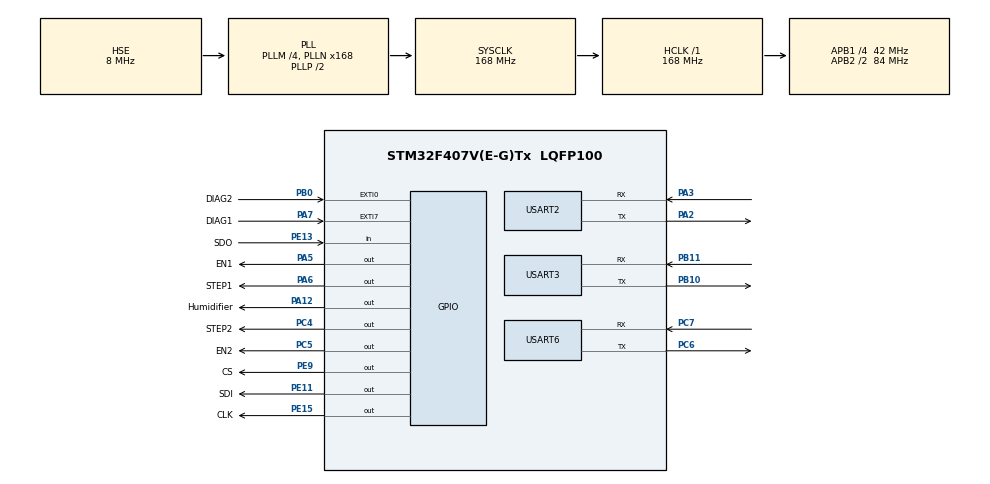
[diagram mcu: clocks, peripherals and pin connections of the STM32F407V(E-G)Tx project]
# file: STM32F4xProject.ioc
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Mcu.Family=STM32F4
Mcu.Name=STM32F407V(E-G)Tx
Mcu.Package=LQFP100
NVIC.EXTI0_IRQn=true\:0\:0\:false\:false\:true\:true\:true\:true
NVIC.EXTI9_5_IRQn=true\:0\:0\:false\:false\:true\:true\:true\:true
NVIC.PriorityGroup=NVIC_PRIORITYGROUP_4
NVIC.TIM6_DAC_IRQn=true\:0\:0\:false\:false\:true\:true\:true\:true
NVIC.TIM7_IRQn=true\:0\:0\:false\:false\:true\:true\:true\:true
NVIC.USART2_IRQn=true\:0\:0\:false\:false\:true\:true\:true\:true
NVIC.USART3_IRQn=true\:0\:0\:false\:false\:true\:true\:true\:true
PA12.GPIO_Label=Humidifier
PA12.Signal=GPIO_Output
PA13.Mode=Serial_Wire
PA13.Signal=SYS_JTMS-SWDIO
PA14.Mode=Serial_Wire
PA14.Signal=SYS_JTCK-SWCLK
PA2.Mode=Asynchronous
PA2.Signal=USART2_TX
PA3.Mode=Asynchronous
PA3.Signal=USART2_RX
PA5.GPIO_Label=EN1
PA5.GPIO_PuPd=GPIO_PULLUP
PA5.GPIO_Speed=GPIO_SPEED_FREQ_HIGH
PA5.Signal=GPIO_Output
PA6.GPIO_Label=STEP1
PA6.GPIO_PuPd=GPIO_PULLUP
PA6.GPIO_Speed=GPIO_SPEED_FREQ_VERY_HIGH
PA6.PinState=GPIO_PIN_RESET
PA6.Signal=GPIO_Output
PA7.GPIO_Label=DIAG1
PA7.GPIO_ModeDefaultEXTI=GPIO_MODE_IT_RISING
PA7.GPIO_PuPd=GPIO_PULLUP
PA7.Signal=GPXTI7
PB0.GPIO_Label=DIAG2
PB0.GPIO_PuPd=GPIO_PULLUP
PB0.Signal=GPXTI0
PB10.Mode=Asynchronous
PB10.Signal=USART3_TX
PB11.Mode=Asynchronous
PB11.Signal=USART3_RX
PC14-OSC32_IN.Mode=LSE-External-Oscillator
PC14-OSC32_IN.Signal=RCC_OSC32_IN
PC15-OSC32_OUT.Mode=LSE-External-Oscillator
PC15-OSC32_OUT.Signal=RCC_OSC32_OUT
PC4.GPIO_Label=STEP2
PC4.GPIO_ModeDefaultOutputPP=GPIO_MODE_OUTPUT_PP
PC4.GPIO_Speed=GPIO_SPEED_FREQ_VERY_HIGH
PC4.Signal=GPIO_Output
PC5.GPIO_Label=EN2
PC5.GPIO_PuPd=GPIO_PULLUP
PC5.GPIO_Speed=GPIO_SPEED_FREQ_HIGH
PC5.Signal=GPIO_Output
PC6.Mode=Asynchronous
PC6.Signal=USART6_TX
PC7.Mode=Asynchronous
PC7.Signal=USART6_RX
PE11.GPIO_Label=SDI
PE11.GPIO_Speed=GPIO_SPEED_FREQ_HIGH
PE11.Signal=GPIO_Output
PE13.GPIO_Label=SDO
PE13.Signal=GPIO_Input
PE15.GPIO_Label=CLK
PE15.GPIO_Speed=GPIO_SPEED_FREQ_HIGH
PE15.Signal=GPIO_Output
PE9.GPIO_Label=CS
PE9.GPIO_Speed=GPIO_SPEED_FREQ_HIGH
PE9.Signal=GPIO_Output
PH0-OSC_IN.Mode=HSE-External-Oscillator
PH0-OSC_IN.Signal=RCC_OSC_IN
PH1-OSC_OUT.Mode=HSE-External-Oscillator
PH1-OSC_OUT.Signal=RCC_OSC_OUT
ProjectManager.HeapSize=0x200
ProjectManager.StackSize=0x400
ProjectManager.TargetToolchain=STM32CubeIDE
RCC.48MHZClocksFreq_Value=84000000
RCC.AHBFreq_Value=168000000
RCC.APB1CLKDivider=RCC_HCLK_DIV4
RCC.APB1Freq_Value=42000000
RCC.APB1TimFreq_Value=84000000
RCC.APB2CLKDivider=RCC_HCLK_DIV2
RCC.APB2Freq_Value=84000000
RCC.APB2TimFreq_Value=168000000
RCC.CortexFreq_Value=168000000
RCC.HCLKFreq_Value=168000000
RCC.HSE_VALUE=8000000
RCC.HSI_VALUE=16000000
RCC.PLLM=4
RCC.PLLN=168
RCC.PLLSourceVirtual=RCC_PLLSOURCE_HSE
RCC.SYSCLKFreq_VALUE=168000000
RCC.SYSCLKSource=RCC_SYSCLKSOURCE_PLLCLK
RCC.VCOOutputFreq_Value=336000000
TIM6.Period=10000-1
TIM6.Prescaler=8399
TIM7.Period=10000-1
TIM7.Prescaler=8399
USART2.VirtualMode=VM_ASYNC
USART3.VirtualMode=VM_ASYNC
USART6.VirtualMode=VM_ASYNC
VP_TIM6_VS_ClockSourceINT.Mode=Enable_Timer
VP_TIM7_VS_ClockSourceINT.Mode=Enable_Timer
board=custom

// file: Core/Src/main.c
/* USER CODE BEGIN Header */
/**
  ******************************************************************************
  * @file           : main.c
  * @brief          : Main program body
  ******************************************************************************
  * @attention
  *
  * Copyright (c) 2022 STMicroelectronics.
  * All rights reserved.
  *
  * This software is licensed under terms that can be found in the LICENSE file
  * in the root directory of this software component.
  * If no LICENSE file comes with this software, it is provided AS-IS.
  *
  ******************************************************************************
  */
/* USER CODE END Header */
#include "main.h"
#include "tim.h"
#include "usart.h"
#include "gpio.h"

/* USER CODE BEGIN Includes */
#include "tools.h"
#include "tmc220xUart.h"
#include "humidifier.h"
#include "max31865.h"
#include "tim.h"
#include "tmc220xUart.h"
#include "max31865.h"
#include "dht.h"
#include "tmc220x.h"
/* USER CODE END Includes */

void SystemClock_Config(void);

int main(void)
{

  /* MCU Configuration--------------------------------------------------------*/

  /* Reset of all peripherals, Initializes the Flash interface and the Systick. */
  HAL_Init();

  /* Configure the system clock */
  SystemClock_Config();

  /* Initialize all configured peripherals */
  MX_GPIO_Init();
  MX_USART6_UART_Init();
  MX_TIM6_Init();
  MX_TIM7_Init();
  MX_USART2_UART_Init();
  MX_USART3_UART_Init();
  /* USER CODE BEGIN 2 */
	delay_init(168);
	/*=========================驱动初始化========================= */
	// 初始化步进电机驱动
	RetargetInit(&huart6);
	initTMC2209(
		0, &huart2, 64, 253, 2,
		STEP1_GPIO_Port, STEP1_Pin,
		EN1_GPIO_Port, EN1_Pin,
		DIAG2_GPIO_Port, DIAG2_Pin, 90, 0
	);
//
//	initTMC2209(1, &huart3, 64, 203, 2, STEP2_GPIO_Port,
//							STEP2_Pin, EN2_GPIO_Port, EN2_Pin, DIAG1_GPIO_Port,
//							DIAG1_Pin, 80, 0);

	// 初始化加湿器
//	initHumidifier(Humidifier_GPIO_Port, Humidifier_Pin);
	// 初始化Max31865温度传感器
//	initMax31865(0, CS_GPIO_Port, CS_Pin, CLK_GPIO_Port, CLK_Pin,
//	             SDI_GPIO_Port, SDI_Pin, SDO_GPIO_Port, SDO_Pin, 4);
//	static DHT_sensor dhtSensor = {GPIOC, GPIO_PIN_1, DHT22, GPIO_PULLUP};

  /* USER CODE END 2 */

  /* Infinite loop */
  /* USER CODE BEGIN WHILE */

	stallGuard(0,0);
	moveToUART(0, 1, 37);
	while (1) {
		moveToUART(0, 1, 25);
		HAL_Delay(2000);
//		static uint8_t dir=0;
//		moveToUART(0, dir, 253);
//		if(get_stop_flag(0))
//		{
//			print("0:stop");
//			set_stop_flag(0,0);
//		}
//		dir=!dir;
//		HAL_Delay(2000);
//		if (sendFlag) {
//			DHT_data dhtData = DHT_getData(&dhtSensor);
//			double temp = max31865ReadTemp(0);
//			sendFlag = 0;
//		}
    /* USER CODE END WHILE */

	}
}

void SystemClock_Config(void)
{
  RCC_OscInitTypeDef RCC_OscInitStruct = {0};
  RCC_ClkInitTypeDef RCC_ClkInitStruct = {0};

  /** Configure the main internal regulator output voltage
  */
  __HAL_RCC_PWR_CLK_ENABLE();
  __HAL_PWR_VOLTAGESCALING_CONFIG(PWR_REGULATOR_VOLTAGE_SCALE1);

  /** Initializes the RCC Oscillators according to the specified parameters
  * in the RCC_OscInitTypeDef structure.
  */
  RCC_OscInitStruct.OscillatorType = RCC_OSCILLATORTYPE_HSE;
  RCC_OscInitStruct.HSEState = RCC_HSE_ON;
  RCC_OscInitStruct.PLL.PLLState = RCC_PLL_ON;
  RCC_OscInitStruct.PLL.PLLSource = RCC_PLLSOURCE_HSE;
  RCC_OscInitStruct.PLL.PLLM = 4;
  RCC_OscInitStruct.PLL.PLLN = 168;
  RCC_OscInitStruct.PLL.PLLP = RCC_PLLP_DIV2;
  RCC_OscInitStruct.PLL.PLLQ = 4;
  if (HAL_RCC_OscConfig(&RCC_OscInitStruct) != HAL_OK)
  {
    Error_Handler();
  }

  /** Initializes the CPU, AHB and APB buses clocks
  */
  RCC_ClkInitStruct.ClockType = RCC_CLOCKTYPE_HCLK|RCC_CLOCKTYPE_SYSCLK
                              |RCC_CLOCKTYPE_PCLK1|RCC_CLOCKTYPE_PCLK2;
  RCC_ClkInitStruct.SYSCLKSource = RCC_SYSCLKSOURCE_PLLCLK;
  RCC_ClkInitStruct.AHBCLKDivider = RCC_SYSCLK_DIV1;
  RCC_ClkInitStruct.APB1CLKDivider = RCC_HCLK_DIV4;
  RCC_ClkInitStruct.APB2CLKDivider = RCC_HCLK_DIV2;

  if (HAL_RCC_ClockConfig(&RCC_ClkInitStruct, FLASH_LATENCY_5) != HAL_OK)
  {
    Error_Handler();
  }
}

void Error_Handler(void)
{
	__disable_irq();
	while (1) {
	}
}
